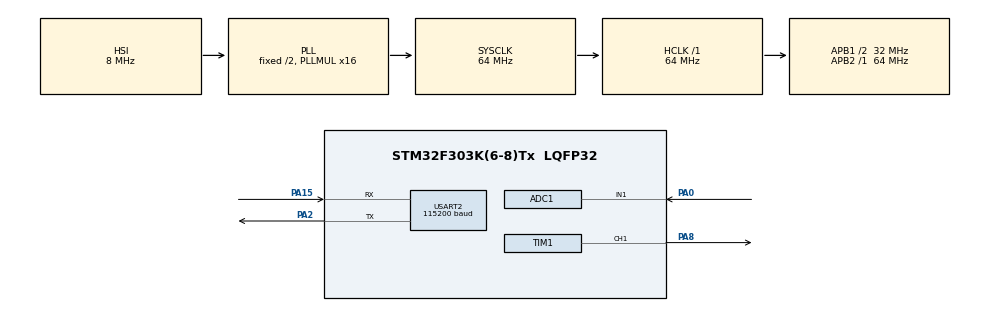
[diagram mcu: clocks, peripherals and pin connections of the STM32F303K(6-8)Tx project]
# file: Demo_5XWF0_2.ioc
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ADC1.Channel-0\#ChannelRegularConversion=ADC_CHANNEL_1
ADC1.Channel-1\#ChannelRegularConversion=ADC_CHANNEL_1
ADC1.ClockPrescaler=ADC_CLOCK_SYNC_PCLK_DIV1
ADC1.DMAContinuousRequests=ENABLE
ADC1.ExternalTrigConv=ADC_EXTERNALTRIGCONV_T1_TRGO
ADC1.NbrOfConversion=2
ADC1.NbrOfConversionFlag=1
ADC1.Offset-0\#ChannelRegularConversion=0
ADC1.Offset-1\#ChannelRegularConversion=0
ADC1.OffsetNumber-0\#ChannelRegularConversion=ADC_OFFSET_NONE
ADC1.OffsetNumber-1\#ChannelRegularConversion=ADC_OFFSET_NONE
ADC1.Rank-0\#ChannelRegularConversion=1
ADC1.Rank-1\#ChannelRegularConversion=2
ADC1.SamplingTime-0\#ChannelRegularConversion=ADC_SAMPLETIME_1CYCLE_5
ADC1.SamplingTime-1\#ChannelRegularConversion=ADC_SAMPLETIME_1CYCLE_5
ADC1.SamplingTimeOPAMP-0\#ChannelRegularConversion=ADC_SAMPLETIME_4CYCLES_5
ADC1.SamplingTimeOPAMP-1\#ChannelRegularConversion=ADC_SAMPLETIME_4CYCLES_5
ADC1.SubFamily=STM32F303x8
ADC1.master=1
Dma.ADC1.0.Direction=DMA_PERIPH_TO_MEMORY
Dma.ADC1.0.Instance=DMA1_Channel1
Dma.ADC1.0.MemDataAlignment=DMA_MDATAALIGN_WORD
Dma.ADC1.0.MemInc=DMA_MINC_ENABLE
Dma.ADC1.0.Mode=DMA_CIRCULAR
Dma.ADC1.0.PeriphDataAlignment=DMA_PDATAALIGN_WORD
Dma.ADC1.0.PeriphInc=DMA_PINC_DISABLE
Dma.ADC1.0.Priority=DMA_PRIORITY_LOW
Dma.Request0=ADC1
Mcu.Family=STM32F3
Mcu.Name=STM32F303K(6-8)Tx
Mcu.Package=LQFP32
NVIC.DMA1_Channel1_IRQn=true\:0\:0\:false\:false\:true\:false\:true\:true
NVIC.PriorityGroup=NVIC_PRIORITYGROUP_4
PA0.Mode=IN1-Single-Ended
PA0.Signal=ADC1_IN1
PA15.Mode=Asynchronous
PA15.Signal=USART2_RX
PA2.Mode=Asynchronous
PA2.Signal=USART2_TX
PA8.Signal=S_TIM1_CH1
ProjectManager.HeapSize=0x200
ProjectManager.StackSize=0x400
ProjectManager.TargetToolchain=STM32CubeIDE
RCC.AHBFreq_Value=64000000
RCC.APB1CLKDivider=RCC_HCLK_DIV2
RCC.APB1Freq_Value=32000000
RCC.APB1TimFreq_Value=64000000
RCC.APB2Freq_Value=64000000
RCC.APB2TimFreq_Value=64000000
RCC.CortexFreq_Value=64000000
RCC.HCLKFreq_Value=64000000
RCC.HSE_VALUE=8000000
RCC.HSI_VALUE=8000000
RCC.PLLMUL=RCC_PLL_MUL16
RCC.SYSCLKFreq_VALUE=64000000
RCC.SYSCLKSourceVirtual=RCC_SYSCLKSOURCE_PLLCLK
SH.S_TIM1_CH1.0=TIM1_CH1,PWM Generation1 CH1
TIM1.Channel-PWM\ Generation1\ CH1=TIM_CHANNEL_1
TIM1.CounterMode=TIM_COUNTERMODE_CENTERALIGNED1
TIM1.RepetitionCounter=1
TIM1.TIM_MasterOutputTrigger=TIM_TRGO_UPDATE
USART2.BaudRate=115200
USART2.VirtualMode-Asynchronous=VM_ASYNC
VP_TIM1_VS_ClockSourceINT.Mode=Internal
board=custom

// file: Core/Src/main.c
/* USER CODE BEGIN Header */
/**
  ******************************************************************************
  * @file           : main.c
  * @brief          : Main program body
  ******************************************************************************
  * @attention
  *
  * Copyright (c) 2024 STMicroelectronics.
  * All rights reserved.
  *
  * This software is licensed under terms that can be found in the LICENSE file
  * in the root directory of this software component.
  * If no LICENSE file comes with this software, it is provided AS-IS.
  *
  ******************************************************************************
  */
/* USER CODE END Header */
#include "main.h"

/* USER CODE BEGIN Includes */
#include "stdlib.h"
#include "stdio.h"
#include "string.h"
/* USER CODE END Includes */

ADC_HandleTypeDef hadc1;
DMA_HandleTypeDef hdma_adc1;

TIM_HandleTypeDef htim1;

UART_HandleTypeDef huart2;

/* USER CODE BEGIN PV */
//UART
uint8_t TxStartMessage[] = "/r/n***** HoverCharge - 5XWF0 *****/r/n";

//ADC
uint32_t ADC_Buff[1];
uint32_t adc_val_1;
float meas_volt_1=0.0f;

//PWM
uint32_t PWM_Freq = 43000;
float PWM_DutyC = 50;
int32_t PWM_Period;
int32_t PWM_PulseWidth;

/* USER CODE END PV */

void SystemClock_Config(void);
static void MX_GPIO_Init(void);
static void MX_DMA_Init(void);
static void MX_ADC1_Init(void);
static void MX_TIM1_Init(void);
static void MX_USART2_UART_Init(void);

/* USER CODE BEGIN 0 */
#ifdef __GNUC__
	#define PUTCHAR_PROTOTYPE int __io_putchar(int ch)
#else
	#define PUTCHAR_PROTOTYPE int fputc(int ch, FILE *f)
#endif

PUTCHAR_PROTOTYPE
{
	HAL_UART_Transmit(&huart2, (uint8_t *)&ch, 1, 0xFFF);

	return ch;
}
/* USER CODE END 0 */

int main(void)
{

  /* MCU Configuration--------------------------------------------------------*/

  /* Reset of all peripherals, Initializes the Flash interface and the Systick. */
  HAL_Init();

  /* Configure the system clock */
  SystemClock_Config();

  /* Initialize all configured peripherals */
  MX_GPIO_Init();
  MX_DMA_Init();
  MX_ADC1_Init();
  MX_TIM1_Init();
  MX_USART2_UART_Init();
  /* USER CODE BEGIN 2 */
  printf("%s", TxStartMessage);

  PWM_Period = 64000000/(2*PWM_Freq)-1;
  PWM_PulseWidth = (int)((PWM_Period*PWM_DutyC)/100);

  __HAL_TIM_SET_AUTORELOAD(&htim1, PWM_Period);
  __HAL_TIM_SET_COMPARE(&htim1, TIM_CHANNEL_1, PWM_PulseWidth);
  HAL_TIM_PWM_Start(&htim1, TIM_CHANNEL_1);

  HAL_ADCEx_Calibration_Start(&hadc1, ADC_SINGLE_ENDED);
  HAL_ADC_Start_DMA(&hadc1, (uint32_t*)ADC_Buff, 1);

  /* USER CODE END 2 */

  /* Infinite loop */
  while (1)
  {

  }
}

void SystemClock_Config(void)
{
  RCC_OscInitTypeDef RCC_OscInitStruct = {0};
  RCC_ClkInitTypeDef RCC_ClkInitStruct = {0};
  RCC_PeriphCLKInitTypeDef PeriphClkInit = {0};

  /** Initializes the RCC Oscillators according to the specified parameters
  * in the RCC_OscInitTypeDef structure.
  */
  RCC_OscInitStruct.OscillatorType = RCC_OSCILLATORTYPE_HSI;
  RCC_OscInitStruct.HSIState = RCC_HSI_ON;
  RCC_OscInitStruct.HSICalibrationValue = RCC_HSICALIBRATION_DEFAULT;
  RCC_OscInitStruct.PLL.PLLState = RCC_PLL_ON;
  RCC_OscInitStruct.PLL.PLLSource = RCC_PLLSOURCE_HSI;
  RCC_OscInitStruct.PLL.PLLMUL = RCC_PLL_MUL16;
  if (HAL_RCC_OscConfig(&RCC_OscInitStruct) != HAL_OK)
  {
    Error_Handler();
  }

  /** Initializes the CPU, AHB and APB buses clocks
  */
  RCC_ClkInitStruct.ClockType = RCC_CLOCKTYPE_HCLK|RCC_CLOCKTYPE_SYSCLK
                              |RCC_CLOCKTYPE_PCLK1|RCC_CLOCKTYPE_PCLK2;
  RCC_ClkInitStruct.SYSCLKSource = RCC_SYSCLKSOURCE_PLLCLK;
  RCC_ClkInitStruct.AHBCLKDivider = RCC_SYSCLK_DIV1;
  RCC_ClkInitStruct.APB1CLKDivider = RCC_HCLK_DIV2;
  RCC_ClkInitStruct.APB2CLKDivider = RCC_HCLK_DIV1;

  if (HAL_RCC_ClockConfig(&RCC_ClkInitStruct, FLASH_LATENCY_2) != HAL_OK)
  {
    Error_Handler();
  }
  PeriphClkInit.PeriphClockSelection = RCC_PERIPHCLK_TIM1;
  PeriphClkInit.Tim1ClockSelection = RCC_TIM1CLK_HCLK;
  if (HAL_RCCEx_PeriphCLKConfig(&PeriphClkInit) != HAL_OK)
  {
    Error_Handler();
  }
}

static void MX_ADC1_Init(void)
{

  ADC_MultiModeTypeDef multimode = {0};
  ADC_ChannelConfTypeDef sConfig = {0};

  /** Common config
  */
  hadc1.Instance = ADC1;
  hadc1.Init.ClockPrescaler = ADC_CLOCK_SYNC_PCLK_DIV1;
  hadc1.Init.Resolution = ADC_RESOLUTION_12B;
  hadc1.Init.ScanConvMode = ADC_SCAN_ENABLE;
  hadc1.Init.ContinuousConvMode = DISABLE;
  hadc1.Init.DiscontinuousConvMode = DISABLE;
  hadc1.Init.ExternalTrigConvEdge = ADC_EXTERNALTRIGCONVEDGE_RISING;
  hadc1.Init.ExternalTrigConv = ADC_EXTERNALTRIGCONV_T1_TRGO;
  hadc1.Init.DataAlign = ADC_DATAALIGN_RIGHT;
  hadc1.Init.NbrOfConversion = 2;
  hadc1.Init.DMAContinuousRequests = ENABLE;
  hadc1.Init.EOCSelection = ADC_EOC_SINGLE_CONV;
  hadc1.Init.LowPowerAutoWait = DISABLE;
  hadc1.Init.Overrun = ADC_OVR_DATA_OVERWRITTEN;
  if (HAL_ADC_Init(&hadc1) != HAL_OK)
  {
    Error_Handler();
  }

  /** Configure the ADC multi-mode
  */
  multimode.Mode = ADC_MODE_INDEPENDENT;
  if (HAL_ADCEx_MultiModeConfigChannel(&hadc1, &multimode) != HAL_OK)
  {
    Error_Handler();
  }

  /** Configure Regular Channel
  */
  sConfig.Channel = ADC_CHANNEL_1;
  sConfig.Rank = ADC_REGULAR_RANK_1;
  sConfig.SingleDiff = ADC_SINGLE_ENDED;
  sConfig.SamplingTime = ADC_SAMPLETIME_1CYCLE_5;
  sConfig.OffsetNumber = ADC_OFFSET_NONE;
  sConfig.Offset = 0;
  if (HAL_ADC_ConfigChannel(&hadc1, &sConfig) != HAL_OK)
  {
    Error_Handler();
  }

  /** Configure Regular Channel
  */
  sConfig.Rank = ADC_REGULAR_RANK_2;
  if (HAL_ADC_ConfigChannel(&hadc1, &sConfig) != HAL_OK)
  {
    Error_Handler();
  }

}

static void MX_TIM1_Init(void)
{

  TIM_ClockConfigTypeDef sClockSourceConfig = {0};
  TIM_MasterConfigTypeDef sMasterConfig = {0};
  TIM_OC_InitTypeDef sConfigOC = {0};
  TIM_BreakDeadTimeConfigTypeDef sBreakDeadTimeConfig = {0};

  htim1.Instance = TIM1;
  htim1.Init.Prescaler = 0;
  htim1.Init.CounterMode = TIM_COUNTERMODE_CENTERALIGNED1;
  htim1.Init.Period = 65535;
  htim1.Init.ClockDivision = TIM_CLOCKDIVISION_DIV1;
  htim1.Init.RepetitionCounter = 1;
  htim1.Init.AutoReloadPreload = TIM_AUTORELOAD_PRELOAD_DISABLE;
  if (HAL_TIM_Base_Init(&htim1) != HAL_OK)
  {
    Error_Handler();
  }
  sClockSourceConfig.ClockSource = TIM_CLOCKSOURCE_INTERNAL;
  if (HAL_TIM_ConfigClockSource(&htim1, &sClockSourceConfig) != HAL_OK)
  {
    Error_Handler();
  }
  if (HAL_TIM_PWM_Init(&htim1) != HAL_OK)
  {
    Error_Handler();
  }
  sMasterConfig.MasterOutputTrigger = TIM_TRGO_UPDATE;
  sMasterConfig.MasterOutputTrigger2 = TIM_TRGO2_RESET;
  sMasterConfig.MasterSlaveMode = TIM_MASTERSLAVEMODE_DISABLE;
  if (HAL_TIMEx_MasterConfigSynchronization(&htim1, &sMasterConfig) != HAL_OK)
  {
    Error_Handler();
  }
  sConfigOC.OCMode = TIM_OCMODE_PWM1;
  sConfigOC.Pulse = 0;
  sConfigOC.OCPolarity = TIM_OCPOLARITY_HIGH;
  sConfigOC.OCNPolarity = TIM_OCNPOLARITY_HIGH;
  sConfigOC.OCFastMode = TIM_OCFAST_DISABLE;
  sConfigOC.OCIdleState = TIM_OCIDLESTATE_RESET;
  sConfigOC.OCNIdleState = TIM_OCNIDLESTATE_RESET;
  if (HAL_TIM_PWM_ConfigChannel(&htim1, &sConfigOC, TIM_CHANNEL_1) != HAL_OK)
  {
    Error_Handler();
  }
  sBreakDeadTimeConfig.OffStateRunMode = TIM_OSSR_DISABLE;
  sBreakDeadTimeConfig.OffStateIDLEMode = TIM_OSSI_DISABLE;
  sBreakDeadTimeConfig.LockLevel = TIM_LOCKLEVEL_OFF;
  sBreakDeadTimeConfig.DeadTime = 0;
  sBreakDeadTimeConfig.BreakState = TIM_BREAK_DISABLE;
  sBreakDeadTimeConfig.BreakPolarity = TIM_BREAKPOLARITY_HIGH;
  sBreakDeadTimeConfig.BreakFilter = 0;
  sBreakDeadTimeConfig.Break2State = TIM_BREAK2_DISABLE;
  sBreakDeadTimeConfig.Break2Polarity = TIM_BREAK2POLARITY_HIGH;
  sBreakDeadTimeConfig.Break2Filter = 0;
  sBreakDeadTimeConfig.AutomaticOutput = TIM_AUTOMATICOUTPUT_DISABLE;
  if (HAL_TIMEx_ConfigBreakDeadTime(&htim1, &sBreakDeadTimeConfig) != HAL_OK)
  {
    Error_Handler();
  }
  HAL_TIM_MspPostInit(&htim1);

}

static void MX_USART2_UART_Init(void)
{

  huart2.Instance = USART2;
  huart2.Init.BaudRate = 115200;
  huart2.Init.WordLength = UART_WORDLENGTH_8B;
  huart2.Init.StopBits = UART_STOPBITS_1;
  huart2.Init.Parity = UART_PARITY_NONE;
  huart2.Init.Mode = UART_MODE_TX_RX;
  huart2.Init.HwFlowCtl = UART_HWCONTROL_NONE;
  huart2.Init.OverSampling = UART_OVERSAMPLING_16;
  huart2.Init.OneBitSampling = UART_ONE_BIT_SAMPLE_DISABLE;
  huart2.AdvancedInit.AdvFeatureInit = UART_ADVFEATURE_NO_INIT;
  if (HAL_UART_Init(&huart2) != HAL_OK)
  {
    Error_Handler();
  }

}

static void MX_DMA_Init(void)
{

  /* DMA controller clock enable */
  __HAL_RCC_DMA1_CLK_ENABLE();

  /* DMA interrupt init */
  /* DMA1_Channel1_IRQn interrupt configuration */
  HAL_NVIC_SetPriority(DMA1_Channel1_IRQn, 0, 0);
  HAL_NVIC_EnableIRQ(DMA1_Channel1_IRQn);

}

static void MX_GPIO_Init(void)
{

  /* GPIO Ports Clock Enable */
  __HAL_RCC_GPIOA_CLK_ENABLE();

}

/* USER CODE BEGIN 4 */
void HAL_ADC_ConvCpltCallback(ADC_HandleTypeDef* hadc)
{
	UNUSED(hadc);

		adc_val_1 = ADC_Buff[0];
		meas_volt_1 = (((float)adc_val_1)/4095.0f)*3.3f;
}
/* USER CODE END 4 */

void Error_Handler(void)
{
  __disable_irq();
  while (1)
  {
  }
}
